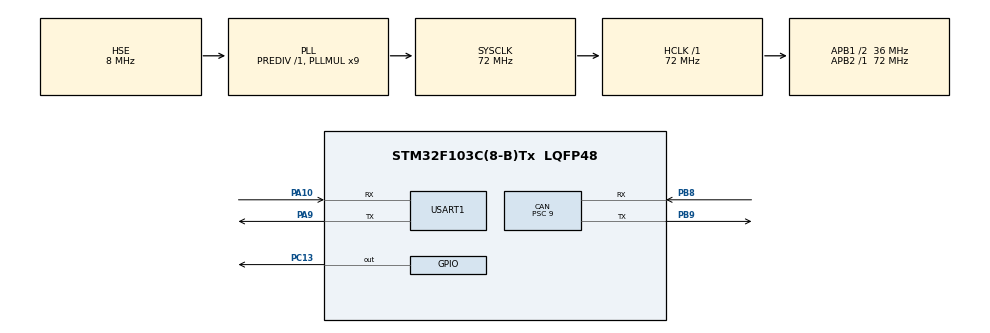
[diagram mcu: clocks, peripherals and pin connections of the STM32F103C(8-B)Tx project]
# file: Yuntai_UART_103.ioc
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CAN.BS1=CAN_BS1_2TQ
CAN.CalculateBaudRate=1000000
CAN.CalculateTimeBit=1000.00
CAN.CalculateTimeQuantum=250.0
CAN.Prescaler=9
CAN.SJW=CAN_SJW_2TQ
Mcu.Family=STM32F1
Mcu.Name=STM32F103C(8-B)Tx
Mcu.Package=LQFP48
NVIC.CAN1_RX1_IRQn=true\:0\:0\:false\:false\:true\:true\:true
NVIC.PriorityGroup=NVIC_PRIORITYGROUP_4
NVIC.USART1_IRQn=true\:0\:0\:false\:false\:true\:true\:true
NVIC.USB_LP_CAN1_RX0_IRQn=true\:0\:0\:false\:false\:true\:true\:true
PA10.Mode=Asynchronous
PA10.Signal=USART1_RX
PA13.Mode=Serial_Wire
PA13.Signal=SYS_JTMS-SWDIO
PA14.Mode=Serial_Wire
PA14.Signal=SYS_JTCK-SWCLK
PA9.Mode=Asynchronous
PA9.Signal=USART1_TX
PB8.GPIO_Mode=GPIO_MODE_INPUT
PB8.GPIO_PuPd=GPIO_PULLDOWN
PB8.Mode=CAN_Activate
PB8.Signal=CAN_RX
PB9.GPIO_Mode=GPIO_MODE_AF_PP
PB9.Mode=CAN_Activate
PB9.Signal=CAN_TX
PC13-TAMPER-RTC.Signal=GPIO_Output
PD0-OSC_IN.Mode=HSE-External-Oscillator
PD0-OSC_IN.Signal=RCC_OSC_IN
PD1-OSC_OUT.Mode=HSE-External-Oscillator
PD1-OSC_OUT.Signal=RCC_OSC_OUT
ProjectManager.HeapSize=0x200
ProjectManager.StackSize=0x400
ProjectManager.TargetToolchain=MDK-ARM V5.27
RCC.AHBFreq_Value=72000000
RCC.APB1CLKDivider=RCC_HCLK_DIV2
RCC.APB1Freq_Value=36000000
RCC.APB1TimFreq_Value=72000000
RCC.APB2Freq_Value=72000000
RCC.APB2TimFreq_Value=72000000
RCC.HCLKFreq_Value=72000000
RCC.PLLMUL=RCC_PLL_MUL9
RCC.PLLSourceVirtual=RCC_PLLSOURCE_HSE
RCC.SYSCLKFreq_VALUE=72000000
RCC.SYSCLKSource=RCC_SYSCLKSOURCE_PLLCLK
RCC.USBFreq_Value=72000000
USART1.VirtualMode=VM_ASYNC
board=custom

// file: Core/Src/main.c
/* USER CODE BEGIN Header */
/**
  ******************************************************************************
  * @file           : main.c
  * @brief          : Main program body
  ******************************************************************************
  * @attention
  *
  * <h2><center>&copy; Copyright (c) 2021 STMicroelectronics.
  * All rights reserved.</center></h2>
  *
  * This software component is licensed by ST under BSD 3-Clause license,
  * the "License"; You may not use this file except in compliance with the
  * License. You may obtain a copy of the License at:
  *                        opensource.org/licenses/BSD-3-Clause
  *
  ******************************************************************************
  */
/* USER CODE END Header */
#include "main.h"
#include "can.h"
#include "usart.h"
#include "gpio.h"

/* USER CODE BEGIN Includes */
#include "PID.h"
#include "ROS_UART.h"
#include "Yuntai.h"
#include "Mission.h"
#include "M2006.h"
/* USER CODE END Includes */

void SystemClock_Config(void);

/* USER CODE BEGIN 0 */
uint8_t TxBuffer[8]={0};
float pos1=0;
float pos2=0;
int count=0;
int vel1=0;
int vel2=0;
int flag1=0;
/* USER CODE END 0 */

int main(void)
{

  /* MCU Configuration--------------------------------------------------------*/

  /* Reset of all peripherals, Initializes the Flash interface and the Systick. */
  HAL_Init();

  /* Configure the system clock */
  SystemClock_Config();

  /* Initialize all configured peripherals */
  MX_GPIO_Init();
  MX_USART1_UART_Init();
  MX_CAN_Init();
  /* USER CODE BEGIN 2 */
	HAL_UART_Receive_IT(&huart1,Receive_Data,18u);
	CanFilterInit(&hcan);
	Yuntai_Init();
  /* USER CODE END 2 */

  /* Infinite loop */
  /* USER CODE BEGIN WHILE */
  while (1)
  {

		/*
		if(count>500)
		{
			count=0;
			HAL_GPIO_TogglePin(GPIOC,GPIO_PIN_13);
		}
		*/
		TxBuffer_Package(TxBuffer,Yuntai.Motor[0].real_angle_360,Yuntai.Motor[1].real_angle_360);
		HAL_UART_Transmit(&huart1,TxBuffer,8,18u);
		Mission_Start();
		//Yuntai.Pos[0].ref = pos1;
		//Yuntai.Pos[1].ref = pos2;
		//Caculate_Pos();
		//CanTransmit_12(&hcan, Yuntai.Motor[0].output, Yuntai.Motor[1].output);
		HAL_Delay(1);
    /* USER CODE END WHILE */

  }
}

void SystemClock_Config(void)
{
  RCC_OscInitTypeDef RCC_OscInitStruct = {0};
  RCC_ClkInitTypeDef RCC_ClkInitStruct = {0};

  /** Initializes the RCC Oscillators according to the specified parameters
  * in the RCC_OscInitTypeDef structure.
  */
  RCC_OscInitStruct.OscillatorType = RCC_OSCILLATORTYPE_HSE;
  RCC_OscInitStruct.HSEState = RCC_HSE_ON;
  RCC_OscInitStruct.HSEPredivValue = RCC_HSE_PREDIV_DIV1;
  RCC_OscInitStruct.HSIState = RCC_HSI_ON;
  RCC_OscInitStruct.PLL.PLLState = RCC_PLL_ON;
  RCC_OscInitStruct.PLL.PLLSource = RCC_PLLSOURCE_HSE;
  RCC_OscInitStruct.PLL.PLLMUL = RCC_PLL_MUL9;
  if (HAL_RCC_OscConfig(&RCC_OscInitStruct) != HAL_OK)
  {
    Error_Handler();
  }
  /** Initializes the CPU, AHB and APB buses clocks
  */
  RCC_ClkInitStruct.ClockType = RCC_CLOCKTYPE_HCLK|RCC_CLOCKTYPE_SYSCLK
                              |RCC_CLOCKTYPE_PCLK1|RCC_CLOCKTYPE_PCLK2;
  RCC_ClkInitStruct.SYSCLKSource = RCC_SYSCLKSOURCE_PLLCLK;
  RCC_ClkInitStruct.AHBCLKDivider = RCC_SYSCLK_DIV1;
  RCC_ClkInitStruct.APB1CLKDivider = RCC_HCLK_DIV2;
  RCC_ClkInitStruct.APB2CLKDivider = RCC_HCLK_DIV1;

  if (HAL_RCC_ClockConfig(&RCC_ClkInitStruct, FLASH_LATENCY_2) != HAL_OK)
  {
    Error_Handler();
  }
}

/* USER CODE BEGIN 4 */
void HAL_UART_RxCpltCallback(UART_HandleTypeDef *huart)
{
	HAL_UART_Receive_IT(&huart1,Receive_Data,18u);
	RxBuffer_Decode(Receive_Data);
}

void HAL_CAN_RxFifo0MsgPendingCallback(CAN_HandleTypeDef *hcan)
{
	flag1+=1;
	CAN_RxHeaderTypeDef   RxHeader;
	if(HAL_CAN_GetRxMessage(hcan, CAN_RX_FIFO0, &RxHeader, CanReceiveData) != HAL_OK)
  {
    Error_Handler();
  }
  CanDataReceive(RxHeader.StdId);
}

/* USER CODE END 4 */

void Error_Handler(void)
{
  __disable_irq();
  while (1)
  {
  }
}

/************************ (C) COPYRIGHT STMicroelectronics *****END OF FILE****/
